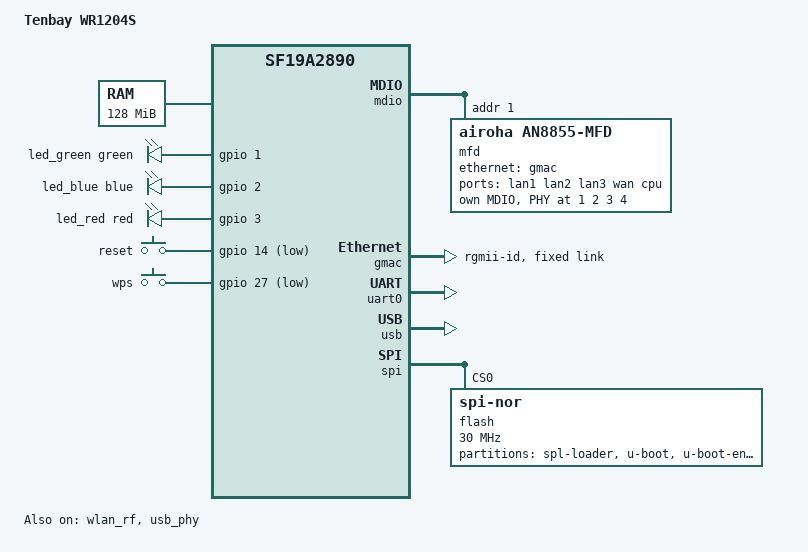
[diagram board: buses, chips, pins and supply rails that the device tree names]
// SPDX-License-Identifier: GPL-2.0-or-later
/*
 * Tenbay WR1204S (eWeLink / twifi branded, ODM by Shenzhen Nuoxincheng)
 *
 * Hardware verified on the running device (root shell, 2026-11-13):
 *   SoC        Siflower SF19A2890 / SF19A28, MIPS 24Kc
 *   RAM        128 MiB          (free shows 119720 KiB after kernel reserve)
 *   Flash      16 MiB SPI NOR   (/proc/mtd, mtd0..mtd9)
 *   Switch     Airoha AN8855    (swconfig: "Siflower MII Bus:01(AN8855), ports: 6 (cpu @ 5)")
 *   Reset key  GPIO 14          (/sys/kernel/debug/gpio: gpio-14 reset  in hi)
 *   WPS key    GPIO 27          (/sys/kernel/debug/gpio: gpio-27 wps    in hi)
 *   LEDs       green=GPIO 1, blue=GPIO 2, red=GPIO 3
 *   UART       115200n8
 *
 * Partition layout is taken verbatim from /proc/mtd -- it differs from both
 * the Siflower EVB and the Banana Pi WiFi5 references:
 *
 *   0x000000  0x020000  spl-loader    (read-only)
 *   0x020000  0x060000  u-boot
 *   0x080000  0x010000  u-boot-env
 *   0x090000  0x010000  factory       (MAC / SN / RGMII delay / WiFi calibration)
 *   0x0A0000  0x010000  product       (vendor product block, ASCII SN at 0x40)
 *   0x0B0000  0xF40000  firmware      (15.25 MiB)
 *   0xFF0000  0x010000  custom        (vendor custom block)
 *
 * Port mapping from /etc/config/network:
 *   vlan 1 (LAN) = ports 0 1 2 + 5t (CPU)
 *   vlan 2 (WAN) = port  3     + 5t (CPU)
 * so port 3 is the WAN jack, ports 0/1/2 are the LAN jacks.
 */

/dts-v1/;

#include <dt-bindings/input/input.h>
#include <dt-bindings/leds/common.h>
#include "sf19a2890.dtsi"

/ {
	model = "Tenbay WR1204S";
	compatible = "tenbay,wr1204s", "siflower,sf19a2890";

	aliases {
		led-boot = &led_green;
		led-failsafe = &led_red;
		led-running = &led_green;
		led-upgrade = &led_blue;
	};

	chosen {
		stdout-path = "serial0:115200n8";
		/*
		 * 三个必须项，少一个就是黑屏：
		 *
		 * earlycon
		 *   sf19a2890/config-6.18 里 CONFIG_MIPS_CMDLINE_DTB_EXTEND=y，
		 *   意思是内核命令行 = 内置 CONFIG_CMDLINE + 本节点 bootargs，
		 *   u-boot 的 bootargs 根本不会被读。所以 dtsi 里那句
		 *   bootargs = "earlycon" 一旦被这里覆盖掉，早期控制台就没了。
		 *
		 * console=ttyAMA0,115200
		 *   UART 是 arm,pl011（config-6.18: CONFIG_SERIAL_AMBA_PL011=y，
		 *   同时 # CONFIG_SERIAL_8250 is not set），设备名是 ttyAMA0。
		 *   写成 ttyS0 的话那台设备永远不存在，等于没有 console。
		 *
		 * root=/dev/mtdblock7
		 *   本 dts 的固定分区是 0..5（firmware 在 5），firmware 带
		 *   compatible="denx,uimage"，由 mtdsplit 在它后面追加
		 *   kernel(6) / rootfs(7)，custom 顺延成 8。
		 */
		bootargs = "earlycon console=ttyAMA0,115200 rootfstype=squashfs rootwait root=/dev/mtdblock7";
	};

	memory@0 {
		device_type = "memory";
		reg = <0x0 0x8000000>;	/* 128 MiB */
	};

	leds {
		compatible = "gpio-leds";

		led_green: green {
			function = LED_FUNCTION_STATUS;
			color = <LED_COLOR_ID_GREEN>;
			gpios = <&gpio 1 GPIO_ACTIVE_HIGH>;
			default-state = "keep";
		};

		led_blue: blue {
			function = LED_FUNCTION_WLAN;
			color = <LED_COLOR_ID_BLUE>;
			gpios = <&gpio 2 GPIO_ACTIVE_HIGH>;
			default-state = "off";
		};

		led_red: red {
			function = LED_FUNCTION_FAULT;
			color = <LED_COLOR_ID_RED>;
			gpios = <&gpio 3 GPIO_ACTIVE_HIGH>;
			default-state = "off";
		};
	};

	keys {
		compatible = "gpio-keys";

		reset {
			label = "reset";
			gpios = <&gpio 14 GPIO_ACTIVE_LOW>;
			linux,code = <KEY_RESTART>;
		};

		wps {
			label = "wps";
			gpios = <&gpio 27 GPIO_ACTIVE_LOW>;
			linux,code = <KEY_WPS_BUTTON>;
		};
	};
};

/* AN8855 management function lives on MDIO address 1 (same as BPI-WiFi5). */
&mdio {
	mfd: mfd@1 {
		compatible = "airoha,an8855-mfd";
		reg = <1>;
	};
};

&mfd {
	efuse {
		compatible = "airoha,an8855-efuse";
		#nvmem-cell-cells = <0>;

		nvmem-layout {
			compatible = "fixed-layout";
			#address-cells = <1>;
			#size-cells = <1>;

			shift_sel_port0_tx_a: shift-sel-port0-tx-a@c  { reg = <0xc 0x4>; };
			shift_sel_port0_tx_b: shift-sel-port0-tx-b@10 { reg = <0x10 0x4>; };
			shift_sel_port0_tx_c: shift-sel-port0-tx-c@14 { reg = <0x14 0x4>; };
			shift_sel_port0_tx_d: shift-sel-port0-tx-d@18 { reg = <0x18 0x4>; };

			shift_sel_port1_tx_a: shift-sel-port1-tx-a@1c { reg = <0x1c 0x4>; };
			shift_sel_port1_tx_b: shift-sel-port1-tx-b@20 { reg = <0x20 0x4>; };
			shift_sel_port1_tx_c: shift-sel-port1-tx-c@24 { reg = <0x24 0x4>; };
			shift_sel_port1_tx_d: shift-sel-port1-tx-d@28 { reg = <0x28 0x4>; };

			shift_sel_port2_tx_a: shift-sel-port2-tx-a@2c { reg = <0x2c 0x4>; };
			shift_sel_port2_tx_b: shift-sel-port2-tx-b@30 { reg = <0x30 0x4>; };
			shift_sel_port2_tx_c: shift-sel-port2-tx-c@34 { reg = <0x34 0x4>; };
			shift_sel_port2_tx_d: shift-sel-port2-tx-d@38 { reg = <0x38 0x4>; };

			shift_sel_port3_tx_a: shift-sel-port3-tx-a@4c { reg = <0x4c 0x4>; };
			shift_sel_port3_tx_b: shift-sel-port3-tx-b@50 { reg = <0x50 0x4>; };
			shift_sel_port3_tx_c: shift-sel-port3-tx-c@54 { reg = <0x54 0x4>; };
			shift_sel_port3_tx_d: shift-sel-port3-tx-d@58 { reg = <0x58 0x4>; };
		};
	};

	ethernet-switch {
		compatible = "airoha,an8855-switch";
		/*
		 * GPIO 8 is driven high by the vendor firmware and was the only
		 * unclaimed output GPIO on the running device, so it is the
		 * AN8855 reset line. If the switch is not detected on boot, try
		 * <&gpio 11 GPIO_ACTIVE_HIGH> (the BPI-WiFi5 value) or drop the
		 * property entirely.
		 */
		reset-gpios = <&gpio 8 GPIO_ACTIVE_HIGH>;
		airoha,ext-surge;

		ports {
			#address-cells = <1>;
			#size-cells = <0>;

			/* LAN jacks -- vlan 1, ports 0 1 2 5t */
			port@0 {
				reg = <0>;
				label = "lan1";
				phy-mode = "internal";
				phy-handle = <&internal_phy1>;
			};

			port@1 {
				reg = <1>;
				label = "lan2";
				phy-mode = "internal";
				phy-handle = <&internal_phy2>;
			};

			port@2 {
				reg = <2>;
				label = "lan3";
				phy-mode = "internal";
				phy-handle = <&internal_phy3>;
			};

			/* WAN jack -- vlan 2, port 3 5t */
			port@3 {
				reg = <3>;
				label = "wan";
				phy-mode = "internal";
				phy-handle = <&internal_phy4>;
			};

			port@5 {
				reg = <5>;
				label = "cpu";
				ethernet = <&gmac>;
				phy-mode = "rgmii";

				fixed-link {
					speed = <1000>;
					full-duplex;
					pause;
				};
			};
		};
	};

	mdio {
		compatible = "airoha,an8855-mdio";
		#address-cells = <1>;
		#size-cells = <0>;

		internal_phy1: phy@1 {
			reg = <1>;
			nvmem-cells = <&shift_sel_port0_tx_a>, <&shift_sel_port0_tx_b>,
				      <&shift_sel_port0_tx_c>, <&shift_sel_port0_tx_d>;
			nvmem-cell-names = "tx_a", "tx_b", "tx_c", "tx_d";
		};

		internal_phy2: phy@2 {
			reg = <2>;
			nvmem-cells = <&shift_sel_port1_tx_a>, <&shift_sel_port1_tx_b>,
				      <&shift_sel_port1_tx_c>, <&shift_sel_port1_tx_d>;
			nvmem-cell-names = "tx_a", "tx_b", "tx_c", "tx_d";
		};

		internal_phy3: phy@3 {
			reg = <3>;
			nvmem-cells = <&shift_sel_port2_tx_a>, <&shift_sel_port2_tx_b>,
				      <&shift_sel_port2_tx_c>, <&shift_sel_port2_tx_d>;
			nvmem-cell-names = "tx_a", "tx_b", "tx_c", "tx_d";
		};

		internal_phy4: phy@4 {
			reg = <4>;
			nvmem-cells = <&shift_sel_port3_tx_a>, <&shift_sel_port3_tx_b>,
				      <&shift_sel_port3_tx_c>, <&shift_sel_port3_tx_d>;
			nvmem-cell-names = "tx_a", "tx_b", "tx_c", "tx_d";
		};
	};
};

&gmac {
	nvmem-cells = <&macaddr_factory_0 0>, <&rgmii_delay_factory_b2>;
	nvmem-cell-names = "mac-address", "rgmii-delay";

	status = "okay";
	phy-mode = "rgmii-id";
	snps,ps-speed = <1000>;

	fixed-link {
		speed = <1000>;
		full-duplex;
		pause;
	};
};

&wlan_rf {
	status = "okay";
};

&uart0 {
	status = "okay";
};

&usb {
	status = "okay";
};

&usb_phy {
	status = "okay";
};

&spi {
	status = "okay";

	flash@0 {
		compatible = "jedec,spi-nor";
		reg = <0>;
		spi-max-frequency = <30000000>;

		partitions {
			compatible = "fixed-partitions";
			#address-cells = <1>;
			#size-cells = <1>;

			partition@0 {
				label = "spl-loader";
				reg = <0x0 0x20000>;		/* 128 KiB */
				read-only;
			};

			partition@20000 {
				label = "u-boot";
				reg = <0x20000 0x60000>;	/* 384 KiB */
				read-only;
			};

			partition@80000 {
				label = "u-boot-env";
				reg = <0x80000 0x10000>;	/* 64 KiB */
			};

			factory: partition@90000 {
				label = "factory";
				reg = <0x90000 0x10000>;	/* 64 KiB */
				read-only;

				nvmem-layout {
					compatible = "fixed-layout";
					#address-cells = <1>;
					#size-cells = <1>;

					macaddr_factory_0: macaddr@0 {
						reg = <0x0 0x6>;
						#nvmem-cell-cells = <1>;
					};

					rgmii_delay_factory_b2: rgmii-delay@b2 {
						reg = <0xb2 0x4>;
					};
				};
			};

			partition@a0000 {
				label = "product";
				reg = <0xa0000 0x10000>;	/* 64 KiB */
				read-only;
			};

			partition@b0000 {
				compatible = "denx,uimage";
				label = "firmware";
				reg = <0xb0000 0xf40000>;	/* 15.25 MiB */
			};

			partition@ff0000 {
				label = "custom";
				reg = <0xff0000 0x10000>;	/* 64 KiB */
			};
		};
	};
};
